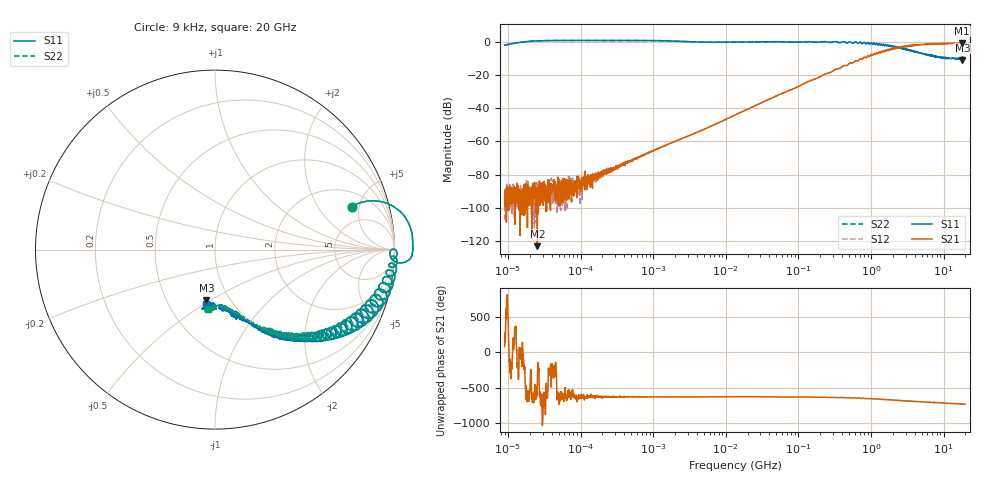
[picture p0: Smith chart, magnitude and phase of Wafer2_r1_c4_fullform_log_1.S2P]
!  2-Port S-parameters saved by WinCal
! VAR MeasName=S-Parameters (CALIBRATED_DATA) read from VNA (P5004A)
! VAR MeasDate=26/04/2024 19:12:25
! VAR NAME=Wafer2_r1_c4_fullform_log
! VAR FILENAME=Wafer2_r1_c4_fullform_log_1.S2P
! VAR DATE=26/04/2024 19:12:25
! VAR PHYS_PORTS=1,2
! VAR ObjTypeName=DATASET
! VAR IndexType=Frequency
# Hz S MA R 50
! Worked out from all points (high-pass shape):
!   2000 points, 9 kHz to 20 GHz, reference 50 ohm
!   highest |S21| = -0.64 dB at 18.05 GHz (marker M1); lowest = -123.1 dB at 25.41 kHz (marker M2)
!   |S21| within 3 dB of the highest: 2.26 GHz to 2.316 GHz (55.16 MHz wide, 2.41 % of centre); 2.348 GHz to end of sweep (the widest 2 of 3)
!   lowest |S11| = -10.8 dB at 18.19 GHz (marker M3), VSWR 1.80, Z = 39 - j24 ohm
!   |S11| at or under -10 dB: 12.26 GHz to 12.84 GHz (579.3 MHz wide, 4.62 % of centre); 14.38 GHz to 15.15 GHz (765.1 MHz wide, 5.18 % of centre); 15.45 GHz to 15.91 GHz (458.5 MHz wide, 2.92 % of centre) (the widest 3 of 15)
!   |S22| runs from -10.4 to 0.9 dB; largest |S21 - S12| = 0.037
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9000  0.7977 17.3  1.899e-05 78.8  1.647e-05 174.7  0.7978 17.3
13955.37  0.9555 16.4  4.297e-05 -26.3  4.152e-05 -136.8  0.9553 16.3
25414.98  1.072 10.0  6.973e-07 -99.5  4.618e-05 47.3  1.072 10.0
103439.5  1.102 2.1  7.823e-05 104.8  7.31e-05 76.0  1.102 2.1
175099.5  1.103 1.1  0.0001195 97.5  7.419e-05 91.2  1.103 1.1
231171.4  1.103 0.6  0.0001256 85.7  0.0001334 92.1  1.103 0.6
1180198  1.09 -2.6  0.0006079 86.3  0.0006083 86.6  1.09 -2.6
4530556  0.9807 -2.6  0.002098 86.6  0.002111 86.6  0.9806 -2.6
1.346554e7  0.986 0.1  0.006272 89.0  0.006319 89.0  0.9861 0.1
1.105652e8  0.9952 -2.1  0.05034 86.5  0.05065 86.0  0.9947 -2.1
1.536358e8  1 -5.6  0.07056 82.6  0.06983 82.8  1.001 -5.5
2.966476e8  0.9822 -6.7  0.131 81.3  0.1323 81.2  0.982 -6.6
7.506948e8  0.8965 -21.0  0.2986 66.2  0.2979 66.4  0.8981 -20.6
1.043128e9  0.8534 -28.0  0.3898 58.7  0.39 58.8  0.855 -27.6
1.752917e9  0.7429 -37.6  0.5553 48.0  0.5582 48.0  0.7426 -37.1
2.945676e9  0.6011 -50.5  0.7198 33.2  0.7261 33.2  0.6036 -49.9
5.646226e9  0.4252 -67.2  0.8435 14.8  0.8484 14.4  0.4236 -66.1
9.488158e9  0.3386 -81.5  0.8888 1.4  0.879 1.2  0.3375 -76.7
1.347662e10  0.3317 -88.6  0.9227 -6.0  0.9185 -6.9  0.3153 -85.9
1.805428e10  0.3474 -99.2  0.9285 -14.9  0.9019 -16.4  0.3016 -92.1
1.818676e10  0.2869 -99.5  0.8827 -16.5  0.8708 -14.3  0.3304 -90.9
2e10  0.3092 -99.0  0.8872 -17.3  0.9002 -16.7  0.3325 -96.4
